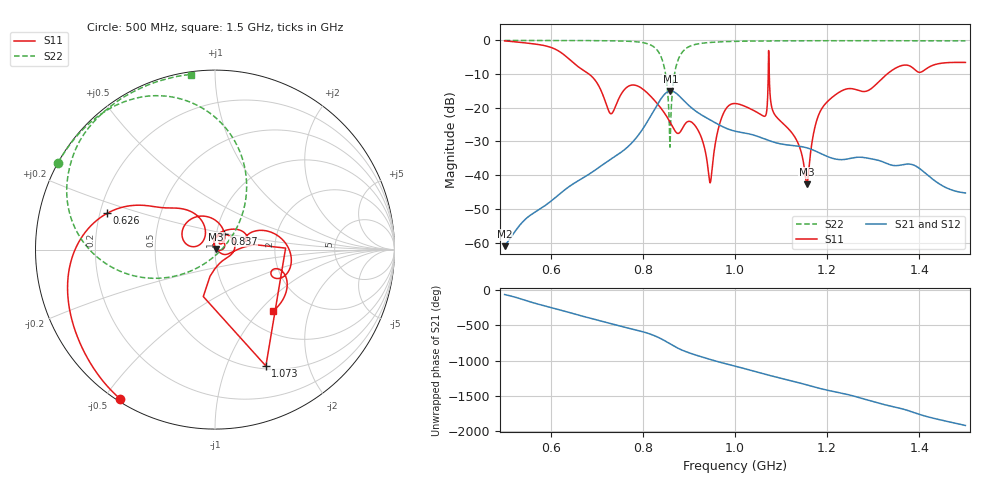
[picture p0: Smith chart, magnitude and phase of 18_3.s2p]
! TOUCHSTONE file generated by CST MICROWAVE STUDIO
! Date and time: Fri Oct 30 07:55:09 2020
! Project name: Scenario_1_Circular_Tissue_out_of_Line.cst
! Parameters = {dy1=-51.203; L_HA=400; MT=2.54; Rad_Dielectric=30; Rad_Lower=7.3; Rad_Upper=30; a_HA=580; a_WG=246; b_HA=500; b_WG=121; c_HA=0; c_WG=187; d_feed=85; dx1=520; h_feed=15; h_lower=18; h_upper=40}
! Header version: 2018
! Port assignment regex: !\s*Touchstone port\s*([0-9]+)\s*=\s*(CST MWS port|CST DS port)\s*([0-9]+|Zmin|Zmax)\s*\(\"(.*)\"\)(\s*mode\s*([0-9]+))?.*
! Touchstone port assignment:
! Touchstone port 1 = CST MWS port 1 ("")
! Touchstone port 2 = CST MWS port 2 ("")
# GHz S DB R 50
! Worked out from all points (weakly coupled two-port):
!   1001 points, 500 MHz to 1.5 GHz, reference 50 ohm
!   highest |S21| = -15.00 dB at 860 MHz (marker M1); lowest = -61.1 dB at 500 MHz (marker M2)
!   lowest |S11| = -42.7 dB at 1.156 GHz (marker M3), VSWR 1.01, Z = 50.6 + j0.429 ohm
!   |S11| at or under -10 dB: 683.3 MHz to 1.072 GHz (388.8 MHz wide, 44.3 % of centre); 1.074 GHz to 1.33 GHz (255.6 MHz wide, 21.3 % of centre)
!   |S22| runs from -31.7 to 0.0 dB; largest |S21 - S12| = 5.1e-06
!   S11 on the Smith chart (normalised r, x): 500 MHz: 0.01, -0.55; 626 MHz: 0.23, +0.16; 837 MHz: 1.09, +0.20; 1.073 GHz: 0.53, -1.39; 1.5 GHz: 1.35, -1.19
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0.5  -0.13 -122.5  -61.07 -60.1  -61.07 -60.1  -0.01 151.1
0.579  -1.34 -163.2  -49.85 152.4  -49.85 152.4  -0.02 145.7
0.626  -3.95 161.4  -44.84 71.2  -44.84 71.2  -0.03 142.0
0.667  -8.50 141.6  -41.07 -4.1  -41.07 -4.1  -0.04 138.4
0.73  -21.74 142.4  -35.30 -113.2  -35.30 -113.2  -0.11 130.9
0.776  -13.25 139.9  -30.43 171.6  -30.43 171.6  -0.30 121.5
0.834  -19.21 62.5  -18.46 49.2  -18.46 49.2  -3.42 84.5
0.837  -19.72 59.4  -17.81 39.6  -17.81 39.6  -4.12 80.3
0.86  -24.50 41.4  -15.00 -45.1  -15.00 -45.1  -26.63 -105.2
0.87  -26.90 43.9  -15.45 -82.4  -15.45 -82.4  -9.00 -153.2
0.882  -27.00 58.7  -16.89 -121.4  -16.89 -121.4  -4.20 -173.0
0.916  -25.80 10.8  -21.10 157.1  -21.10 157.1  -1.12 159.9
0.946  -42.28 43.9  -23.59 97.2  -23.59 97.2  -0.60 149.9
0.97  -23.34 83.4  -25.38 52.8  -25.38 52.8  -0.41 145.0
1  -18.72 23.6  -26.93 2.2  -26.93 2.2  -0.27 140.3
1.063  -22.51 -49.1  -29.19 -109.9  -29.19 -109.9  -0.16 133.2
1.073  -3.00 -66.4  -29.70 -126.6  -29.70 -126.6  -0.15 132.2
1.156  -42.75 35.6  -31.89 94.0  -31.89 94.0  -0.10 125.1
1.167  -30.33 98.1  -32.40 74.1  -32.40 74.1  -0.09 124.2
1.204  -17.70 57.6  -34.64 14.3  -34.64 14.3  -0.09 121.3
1.334  -9.55 16.4  -36.78 158.8  -36.78 158.8  -0.08 111.5
1.5  -6.53 -46.6  -45.27 -121.7  -45.27 -121.8  -0.13 97.9
